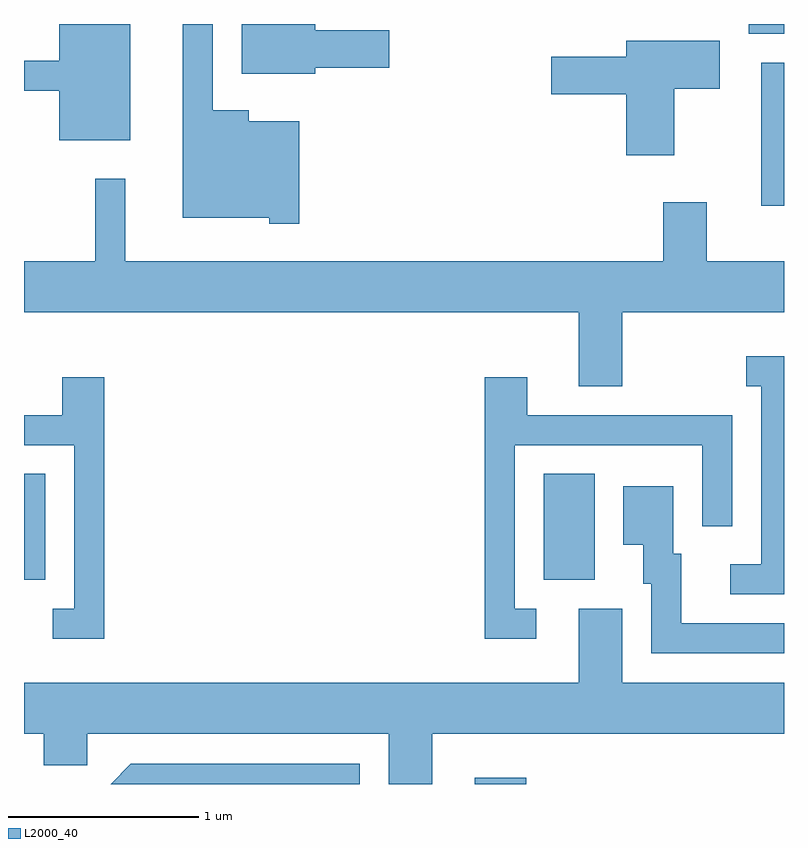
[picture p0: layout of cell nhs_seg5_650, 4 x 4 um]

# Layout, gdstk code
import gdstk
lib = gdstk.Library(unit=1e-6, precision=1e-09)
def R(c, l, rs):  # rectangles x0, y0, x1, y1
    for r in rs: c.add(gdstk.rectangle(r[:2], r[2:], *l))
def P(c, l, *ps):  # polygons
    for p in ps: c.add(gdstk.Polygon(p, *l))
L2000_40 = (2000, 40)

nhs_seg5_650 = lib.new_cell('nhs_seg5_650')
R(nhs_seg5_650, L2000_40, [(205.983,1472.072,206.254,1472.104), (203.611,1473.146,203.724,1473.704), (206.346,1473.146,206.614,1473.704), (207.491,1475.116,207.611,1475.869), (207.426,1476.021,207.611,1476.072)])
P(nhs_seg5_650, L2000_40, [(205.144,1475.841),(205.534,1475.841),(205.534,1476.039),(205.144,1476.039),(205.144,1476.072),(204.756,1476.072),(204.756,1475.811),(205.144,1475.811)],
  [(205.059,1475.559),(204.794,1475.559),(204.794,1475.619),(204.604,1475.619),(204.604,1476.072),(204.446,1476.072),(204.446,1475.051),(204.901,1475.051),(204.901,1475.021),(205.059,1475.021)],
  [(204.169,1476.072),(203.796,1476.072),(203.796,1475.879),(203.611,1475.879),(203.611,1475.721),(203.796,1475.721),(203.796,1475.461),(204.169,1475.461)],
  [(207.034,1475.731),(207.274,1475.731),(207.274,1475.984),(206.781,1475.984),(206.781,1475.899),(206.386,1475.899),(206.386,1475.701),(206.781,1475.701),(206.781,1475.381),(207.034,1475.381)],
  [(206.759,1474.556),(207.611,1474.556),(207.611,1474.824),(207.204,1474.824),(207.204,1475.134),(206.976,1475.134),(206.976,1474.824),(204.144,1474.824),(204.144,1475.258),(203.986,1475.258),(203.986,1474.824),(203.611,1474.824),(203.611,1474.556),(206.531,1474.556),(206.531,1474.166),(206.759,1474.166)],
  [(207.611,1474.324),(207.413,1474.324),(207.413,1474.166),(207.491,1474.166),(207.491,1473.229),(207.328,1473.229),(207.328,1473.071),(207.611,1473.071)],
  [(206.308,1472.994),(206.194,1472.994),(206.194,1473.856),(207.181,1473.856),(207.181,1473.428),(207.339,1473.428),(207.339,1474.014),(206.259,1474.014),(206.259,1474.214),(206.036,1474.214),(206.036,1472.836),(206.308,1472.836)],
  [(204.034,1474.214),(203.811,1474.214),(203.811,1474.014),(203.611,1474.014),(203.611,1473.856),(203.876,1473.856),(203.876,1472.994),(203.763,1472.994),(203.763,1472.836),(204.034,1472.836)],
  [(207.611,1472.919),(207.069,1472.919),(207.069,1473.284),(207.029,1473.284),(207.029,1473.639),(206.766,1473.639),(206.766,1473.331),(206.871,1473.331),(206.871,1473.126),(206.911,1473.126),(206.911,1472.761),(207.611,1472.761)],
  [(205.759,1472.336),(207.611,1472.336),(207.611,1472.604),(206.759,1472.604),(206.759,1472.994),(206.531,1472.994),(206.531,1472.604),(203.611,1472.604),(203.611,1472.336),(203.716,1472.336),(203.716,1472.171),(203.944,1472.171),(203.944,1472.336),(205.531,1472.336),(205.531,1472.072),(205.759,1472.072)],
  [(205.379,1472.179),(204.174,1472.179),(204.067,1472.072),(205.379,1472.072)])

lib.write_gds('nhs_seg5_650.gds')
